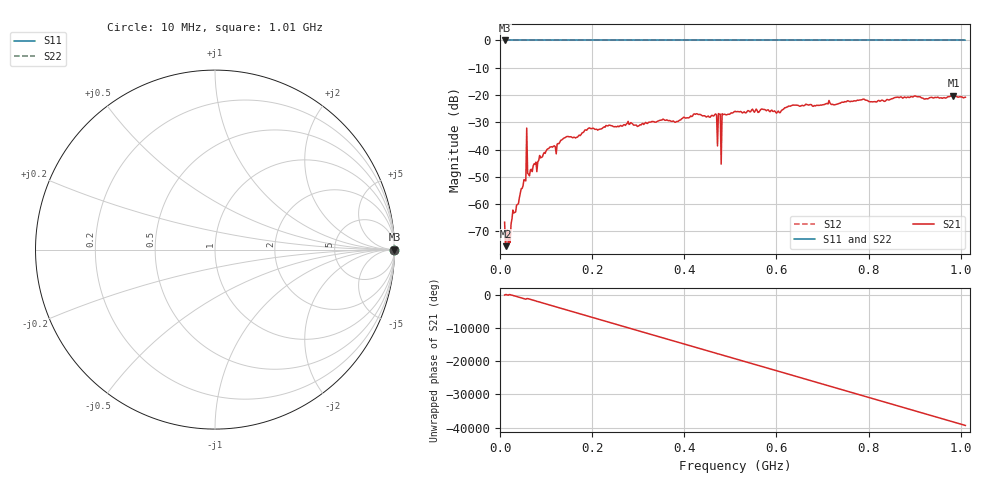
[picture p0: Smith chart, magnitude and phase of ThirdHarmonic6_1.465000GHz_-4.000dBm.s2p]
! 8/16/2025 5:02:51 PM
! C:\ANRITSUVNA\TEMP\TEMP.S2P
! CHANNEL.1
! TR.MEASUREMENT
! RAW.DATA
! RF.CORRECTION.OFF
! AVERAGING.OFF
! IF.BANDWIDTH: 5KHZ
! SWEEPTYPE:  FREQ.SWEEP(Linear)
! Reference Plane Port Info
! PORT:  PORT1  PORT2
! DISTANCE:  0  m  0  m
! TIME:  0  s  0  s
! PHASE.OFFSET:  0  deg.  0  deg.
! LOSS:  0  dB  0  dB
! REF.LOSS:  0  dB  0  dB
! REF.FREQ:  0  Hz  0  Hz
! Power Info
! POWER:  -20  dBm  -20  dBm
! EFF.POWER:  -20  dBm  -20  dBm
! SOURCE.ATTEN:  0  dB  0  dB
! TEST.ATTEN:  0  dB  0  dB
# GHZ S RI R 50.0
! FREQ.GHZ  S11RE  S11IM  S21RE  S21IM  S12RE  S12IM  S22RE  S22IM
!; PortSelection: Port_12
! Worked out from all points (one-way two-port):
!   501 points, 10 MHz to 1.01 GHz, reference 50 ohm
!   highest |S21| = -20.30 dB at 984 MHz (marker M1); lowest = -75.4 dB at 12 MHz (marker M2)
!   lowest |S11| = 0.0 dB at 10 MHz (marker M3)
!   |S11| at or under -10 dB: nowhere
!   |S22| runs from 0.0 to 0.0 dB; largest |S21 - S12| = 1.1
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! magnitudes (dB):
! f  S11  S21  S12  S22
! 10 MHz  0.0  -66.6  0.0  0.0
! 12 MHz  0.0  -75.4  0.0  0.0
! 16 MHz  0.0  -69.4  0.0  0.0
! 22 MHz  0.0  -74.1  0.0  0.0
! 28 MHz  0.0  -62.2  0.0  0.0
! 52 MHz  0.0  -51.0  0.0  0.0
! 54 MHz  0.0  -51.3  0.0  0.0
! 62 MHz  0.0  -49.1  0.0  0.0
! 66 MHz  0.0  -47.4  0.0  0.0
! 106 MHz  0.0  -39.6  0.0  0.0
! 178 MHz  0.0  -33.9  0.0  0.0
! 344 MHz  0.0  -29.5  0.0  0.0
! 466 MHz  0.0  -27.2  0.0  0.0
! 474 MHz  0.0  -26.8  0.0  0.0
! 476 MHz  0.0  -27.1  0.0  0.0
! 484 MHz  0.0  -27.2  0.0  0.0
! 486 MHz  0.0  -27.1  0.0  0.0
! 510 MHz  0.0  -25.9  0.0  0.0
! 678 MHz  0.0  -24.1  0.0  0.0
! 844 MHz  0.0  -21.8  0.0  0.0
! 984 MHz  0.0  -20.3  0.0  0.0
! 1.01 GHz  0.0  -20.8  0.0  0.0
